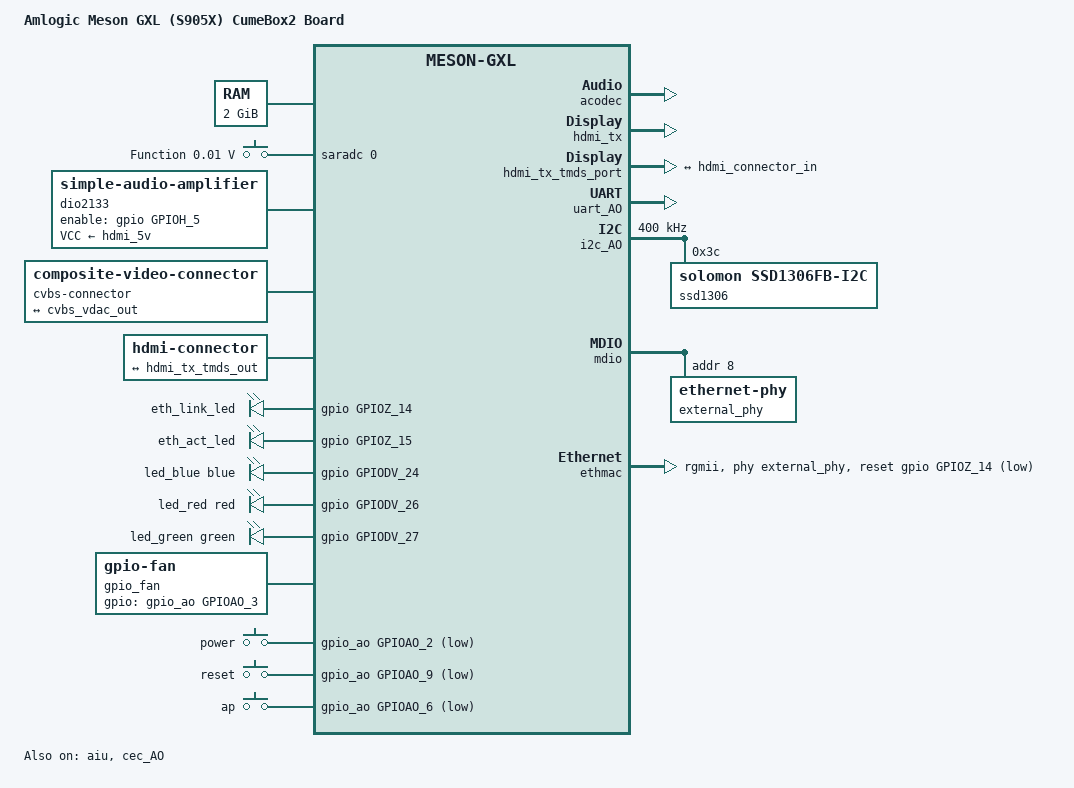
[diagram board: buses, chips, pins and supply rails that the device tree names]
// SPDX-License-Identifier: (GPL-2.0+ OR MIT)
/*
 * Copyright (c) 2016 Endless Computers, Inc.
 * Author: Carlo Caione <carlo@endlessm.com>
 */

/dts-v1/;

#include "meson-gxl-s905x-p212.dtsi"
#include <dt-bindings/leds/common.h>
#include <dt-bindings/input/input.h>
#include <dt-bindings/sound/meson-aiu.h>

/ {
	compatible = "amlogic,cumebox2", "amlogic,s905x", "amlogic,meson-gxl";
	model = "Amlogic Meson GXL (S905X) CumeBox2 Board";

	memory@0 {
		device_type = "memory";
		reg = <0x0 0x0 0x0 0x80000000>;// 2G
	};

	adc-keys {
		compatible = "adc-keys";
		io-channels = <&saradc 0>;
		io-channel-names = "buttons";
		keyup-threshold-microvolt = <1710000>;

		button-function {
			label = "Function";
			linux,code = <KEY_FN>;
			press-threshold-microvolt = <10000>;
		};
	};

	aliases {
		serial2 = &uart_AO_B;
		ethernet0 = &ethmac;
	};

	dio2133: analog-amplifier {
		compatible = "simple-audio-amplifier";
		sound-name-prefix = "AU2";
		VCC-supply = <&hdmi_5v>;
		enable-gpios = <&gpio GPIOH_5 GPIO_ACTIVE_HIGH>;
	};

	cvbs-connector {
		compatible = "composite-video-connector";
		port {
			cvbs_connector_in: endpoint {
				remote-endpoint = <&cvbs_vdac_out>;
			};
		};
	};

	hdmi-connector {
		compatible = "hdmi-connector";
		type = "a";
		port {
			hdmi_connector_in: endpoint {
				remote-endpoint = <&hdmi_tx_tmds_out>;
			};
		};
	};

	leds {
	    compatible = "gpio-leds";
		pinctrl-0 = <&eth_link_led_pins>, <&eth_act_led_pins>;
		pinctrl-names = "default";

	    eth_link_led: eth_link_led {
	        label = "eth_link_led";
	        gpios = <&gpio GPIOZ_14 GPIO_ACTIVE_HIGH>;
	        linux,default-trigger = "mdio_mux-0.e40908ff:08:link";
	    };
	
        eth_act_led: eth_act_led {
            label = "eth_act_led";
            gpios = <&gpio GPIOZ_15 GPIO_ACTIVE_HIGH>;
            linux,default-trigger = "none";
        };
	
	    led_blue: led_blue {
	        label = "led_blue";
	        color = <LED_COLOR_ID_BLUE>;
            function = LED_FUNCTION_STATUS;
	        gpios = <&gpio GPIODV_24 GPIO_ACTIVE_HIGH>; 
	        default-state = "off";        
	        linux,default-trigger = "default-on";           
            panic-indicator-inhibit;                         
	    };
	
	    led_red: led_red {
	        label = "led_red";
	        color = <LED_COLOR_ID_RED>;
	        function = LED_FUNCTION_PANIC;                   
	        gpios = <&gpio GPIODV_26 GPIO_ACTIVE_HIGH>;       
	        default-state = "off";
	        panic-indicator;                                  
	    };
	
	    led_green: led_green {
	        label = "led_green";
	        color = <LED_COLOR_ID_GREEN>;
            function = LED_FUNCTION_HEARTBEAT;
	        gpios = <&gpio GPIODV_27 GPIO_ACTIVE_HIGH>;       
	        default-state = "off";
	        //linux,default-trigger = "heartbeat";
	    };
    };

	thermal-zones {
		cpu-thermal {
			polling-delay-passive = <250>; /* milliseconds */
			polling-delay = <1000>; /* milliseconds */		
			thermal-sensors = <&scpi_sensors 0>;

			trips {
				cpu_active: cpu-active {
					temperature = <45000>; /* millicelsius */
					hysteresis = <2000>; /* millicelsius */
					type = "active";
				};

				cpu_passive: cpu-passive {
					temperature = <90000>; /* millicelsius */
					hysteresis = <2000>; /* millicelsius */
					type = "passive";
				};

				cpu_critical: cpu-critical {
					temperature = <100000>; /* millicelsius */
					hysteresis = <2000>; /* millicelsius */
					type = "critical";
				};
			};

			cooling-maps {
				map0 {
					trip = <&cpu_active>;
					cooling-device = <&gpio_fan THERMAL_NO_LIMIT 1>;
				};

				map1 {
					trip = <&cpu_passive>;
					cooling-device = <&gpio_fan THERMAL_NO_LIMIT 1>;
				};

				map2 {
					trip = <&cpu_critical>;
					cooling-device = <&gpio_fan THERMAL_NO_LIMIT 1>,
				          <&cpu0 THERMAL_NO_LIMIT THERMAL_NO_LIMIT>,
				          <&cpu1 THERMAL_NO_LIMIT THERMAL_NO_LIMIT>,
				          <&cpu2 THERMAL_NO_LIMIT THERMAL_NO_LIMIT>,
				          <&cpu3 THERMAL_NO_LIMIT THERMAL_NO_LIMIT>;
				};
			};
		};
	};

	gpio_fan:gpio-fan {
		#cooling-cells = <2>;
		compatible = "gpio-fan";
		status = "okay";
		gpio-fan,speed-map = <0 0 4500 1>;
		gpios = <&gpio_ao GPIOAO_3 GPIO_ACTIVE_HIGH>; //3 gpio 504
	};

	gpio-keys-polled {
		compatible = "gpio-keys-polled";
		poll-interval = <100>;

		power-button {
			label = "power";
			linux,code = <KEY_POWER>;
			gpios = <&gpio_ao GPIOAO_2 GPIO_ACTIVE_LOW>;//2 gpio 503
		};

		reset-button {
			label = "reset";
			linux,code = <KEY_FN_F1>;
			gpios = <&gpio_ao GPIOAO_9 GPIO_ACTIVE_LOW>;//9 gpio 510
		};

		ap-button {
			label = "ap";
			linux,code = <KEY_FN_F2>;
			gpios = <&gpio_ao GPIOAO_6 GPIO_ACTIVE_LOW>;  //6 gpio 507
		};
	};

	openvfd {
		compatible = "open,vfd";
		dev_name = "openvfd";
		status = "okay";
	};
};

&acodec {
	AVDD-supply = <&vddio_ao18>;
	status = "okay";
};

&aiu {
	status = "okay";
};

&cec_AO {
	status = "okay";
	pinctrl-0 = <&ao_cec_pins>;
	pinctrl-names = "default";
	hdmi-phandle = <&hdmi_tx>;
};

&cvbs_vdac_port {
	cvbs_vdac_out: endpoint {
		remote-endpoint = <&cvbs_connector_in>;
	};
};

&hdmi_tx {
	status = "okay";
	pinctrl-0 = <&hdmi_hpd_pins>, <&hdmi_i2c_pins>;
	pinctrl-names = "default";
	hdmi-supply = <&hdmi_5v>;
};

&hdmi_tx_tmds_port {
	hdmi_tx_tmds_out: endpoint {
		remote-endpoint = <&hdmi_connector_in>;
	};
};

/* This UART is brought out to the DB9 connector */
&uart_AO {
	status = "okay";
};

// enable I2C
&i2c_AO {
	status = "okay";
	pinctrl-0 = <&i2c_ao_pins>; //GPIOAO4,GPIOAO5
	pinctrl-names = "default";
	clock-frequency = < 400000 >;

	ssd1306: oled@3c {
        status = "okay";
		compatible = "solomon,ssd1306fb-i2c";
		reg = < 0x3c >;
		solomon,width = < 128 >;
		solomon,height = < 64 >;
		solomon,page-offset = < 0 >;
		solomon,com-invdir;
	};
};

&mdio {
    external_phy: ethernet-phy@8 {
        reg = <8>;
        max-speed = <1000>;

        // 尝试配置PHY内部LED
        led-modes = <0x00>, <0x02>; /* LED0: 关闭, LED1: 活动闪烁 */
        
        // 或者使用realtek兼容模式（虽然你的PHY是Amlogic的）
        realtek,led-0-mode = <0>;  // 关闭
        realtek,led-1-mode = <2>;  // 活动闪烁
    };
};

&ethmac {
    status = "okay";
    pinctrl-0 = <&eth_rgmii_pins>;
    pinctrl-names = "default";
    phy-handle = <&external_phy>;
    phy-mode = "rgmii";
    
    /* 确保PHY复位正确 */
    snps,reset-gpio = <&gpio GPIOZ_14 GPIO_ACTIVE_LOW>;
    snps,reset-delays-us = <0 10000 30000>;
    snps,reset-active-low;
    
    /* 启用MAC层面的统计，有助于用户空间监控 */
    amlogic,tx-delay-ps = <2000>;
    amlogic,rx-delay-ps = <2000>;
};




